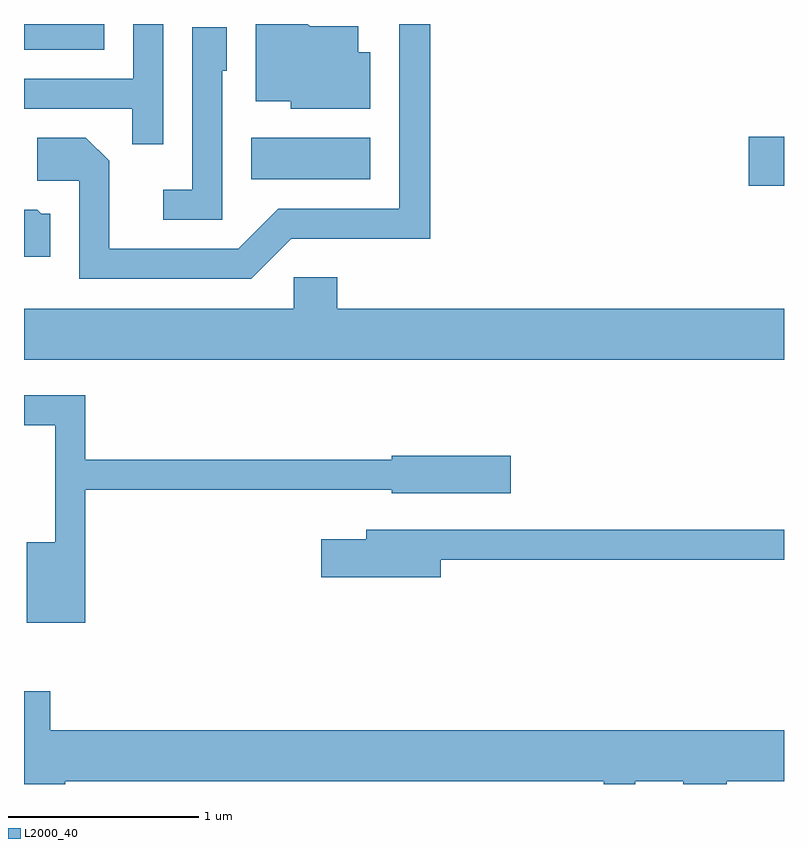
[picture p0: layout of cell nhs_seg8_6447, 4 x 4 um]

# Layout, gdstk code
import gdstk
lib = gdstk.Library(unit=1e-6, precision=1e-09)
def R(c, l, rs):  # rectangles x0, y0, x1, y1
    for r in rs: c.add(gdstk.rectangle(r[:2], r[2:], *l))
def P(c, l, *ps):  # polygons
    for p in ps: c.add(gdstk.Polygon(p, *l))
L2000_40 = (2000, 40)

nhs_seg8_6447 = lib.new_cell('nhs_seg8_6447')
R(nhs_seg8_6447, L2000_40, [(381.426,1899.491,381.611,1899.749), (378.806,1899.526,379.434,1899.744), (377.611,1900.206,378.034,1900.342)])
P(nhs_seg8_6447, L2000_40, [(379.017,1899.211),(379.749,1899.211),(379.749,1900.342),(379.586,1900.342),(379.586,1899.369),(378.949,1899.369),(378.739,1899.159),(378.059,1899.159),(378.059,1899.622),(377.937,1899.744),(377.681,1899.744),(377.681,1899.516),(377.901,1899.516),(377.901,1899.001),(378.807,1899.001)],
  [(379.434,1900.194),(379.369,1900.194),(379.369,1900.329),(379.117,1900.329),(379.104,1900.342),(378.831,1900.342),(378.831,1899.936),(379.016,1899.936),(379.016,1899.896),(379.434,1899.896)],
  [(378.344,1900.342),(378.186,1900.342),(378.186,1900.054),(377.611,1900.054),(377.611,1899.896),(378.181,1899.896),(378.181,1899.708),(378.344,1899.708)],
  [(378.654,1900.096),(378.679,1900.096),(378.679,1900.324),(378.496,1900.324),(378.496,1899.469),(378.343,1899.469),(378.343,1899.311),(378.654,1899.311)],
  [(377.749,1899.344),(377.702,1899.344),(377.682,1899.364),(377.611,1899.364),(377.611,1899.116),(377.749,1899.116)],
  [(381.611,1898.844),(379.259,1898.844),(379.259,1899.009),(379.031,1899.009),(379.031,1898.844),(377.611,1898.844),(377.611,1898.576),(381.611,1898.576)],
  [(377.934,1897.891),(379.546,1897.891),(379.546,1897.871),(380.174,1897.871),(380.174,1898.069),(379.546,1898.069),(379.546,1898.049),(377.934,1898.049),(377.934,1898.389),(377.611,1898.389),(377.611,1898.231),(377.776,1898.231),(377.776,1897.614),(377.626,1897.614),(377.626,1897.191),(377.934,1897.191)],
  [(379.804,1897.521),(381.611,1897.521),(381.611,1897.679),(379.411,1897.679),(379.411,1897.629),(379.176,1897.629),(379.176,1897.431),(379.804,1897.431)],
  [(377.829,1896.356),(380.661,1896.356),(380.661,1896.342),(380.829,1896.342),(380.829,1896.356),(381.081,1896.356),(381.081,1896.342),(381.309,1896.342),(381.309,1896.356),(381.611,1896.356),(381.611,1896.624),(377.749,1896.624),(377.749,1896.829),(377.611,1896.829),(377.611,1896.342),(377.829,1896.342)])

lib.write_gds('nhs_seg8_6447.gds')
